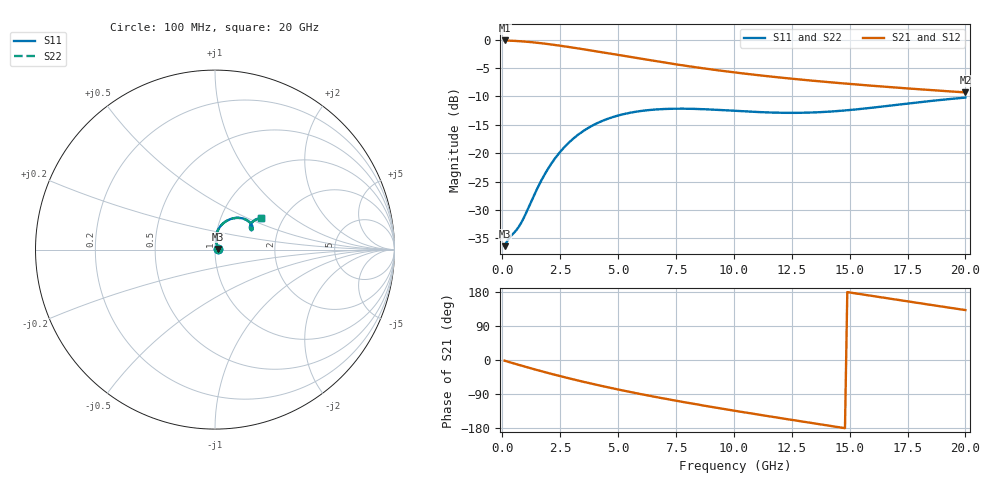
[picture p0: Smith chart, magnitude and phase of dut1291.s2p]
! Touchstone file exported from HFSS 2024.1.0
!  File:  C:/UserFiles/LocalFiles/RDL_TSV_Batchsim/temp_RDL_TSV_1291_1780279935.aedt
!  Generated:  10:26:02 AM Jun  1, 2026
!  Design:  RDL_TSV
!  Project:  temp_RDL_TSV_1291_1780279935
!  Setup:  Setup1
!  Solution:  Sweep
! Variables:
!  dtsv = 8.18um
!  hbump = 3um
!  htsv = 54.82um
!  ldown = 500.84um
!  lrdl = 544.4um
!  p = 40
!  p1 = 47.45um
!  rhole = 10um
!  subl = 3680.12um
!  t = 450um
!  tdown = 4.74um
!  trdl = 3.37um
!  viad = 10um
!  wdown = 27.88um
!  wrdl = 24um
!  xbump = 18um
# GHz S MA R 50.000000
! Terminal data exported
! Port[1] = TM1_1_T1
! Port[2] = TM1_4_T1
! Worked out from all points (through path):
!   200 points, 100 MHz to 20 GHz, reference 50 ohm
!   highest |S21| = -0.13 dB at 100 MHz (marker M1); lowest = -9.3 dB at 20 GHz (marker M2)
!   group delay of S21, straight-line fit = 30.2 ps
!   lowest |S11| = -36.4 dB at 100 MHz (marker M3), VSWR 1.03, Z = 51.5 + j0.358 ohm
!   |S11| at or under -10 dB: start of sweep to end of sweep
!   |S22| runs from -36.4 to -10.2 dB; largest |S21 - S12| = 1.5e-14
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0.1  0.01518 13.2  0.9849 -1.9  0.9849 -1.9  0.01518 13.2
! Gamma 0 0 0 0
! Port Impedance 50 0 50 0
0.3  0.01797 27.9  0.9814 -5.6  0.9814 -5.6  0.01798 27.8
0.6  0.02094 45.9  0.9746 -10.9  0.9746 -10.9  0.02094 45.9
0.8  0.02406 58.6  0.9688 -14.4  0.9688 -14.4  0.02406 58.5
1.6  0.05325 84.4  0.9355 -28.1  0.9355 -28.1  0.05322 84.4
2.1  0.08001 85.1  0.9086 -36.3  0.9086 -36.3  0.07997 85.1
2.4  0.09711 83.3  0.8913 -41.0  0.8913 -41.0  0.09707 83.3
2.8  0.1199 79.6  0.8673 -47.2  0.8673 -47.2  0.1198 79.6
3.5  0.157 71.8  0.8242 -57.5  0.8242 -57.5  0.1569 71.9
4.2  0.188 63.9  0.7812 -67.2  0.7812 -67.2  0.188 63.9
5  0.2148 55.4  0.7338 -77.8  0.7338 -77.8  0.2149 55.5
5.9  0.2342 47.2  0.6838 -89.0  0.6838 -89.0  0.2344 47.2
6.8  0.2441 40.4  0.6385 -99.6  0.6385 -99.6  0.2443 40.5
7.6  0.2468 35.7  0.6024 -108.5  0.6024 -108.5  0.2471 35.7
8.4  0.2455 32.1  0.5701 -117.1  0.5701 -117.1  0.2458 32.1
10.1  0.2361 28.2  0.5131 -134.6  0.5131 -134.6  0.2366 28.2
11.7  0.228 28.5  0.4711 -150.3  0.4711 -150.3  0.2285 28.5
13.4  0.2285 31.6  0.4354 -166.6  0.4354 -166.6  0.229 31.5
15  0.2402 34.8  0.4078 178.2  0.4078 178.2  0.2406 34.6
16.7  0.2618 36.6  0.3829 162.2  0.3829 162.2  0.262 36.4
18.4  0.2871 36.3  0.3612 146.4  0.3612 146.4  0.2871 36.0
20  0.3092 34.5  0.3434 131.7  0.3434 131.7  0.309 34.2
